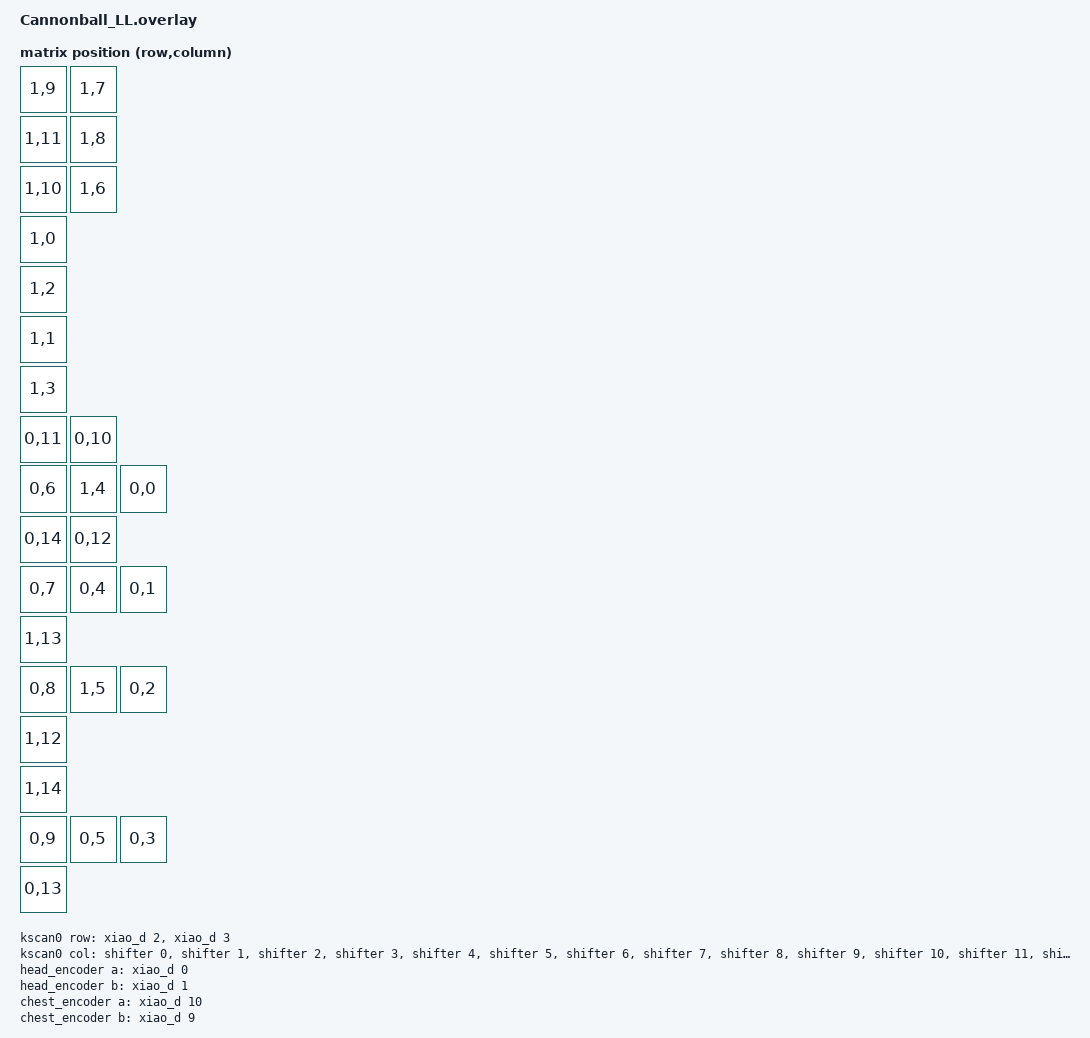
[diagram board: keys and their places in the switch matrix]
#include <dt-bindings/zmk/matrix_transform.h>
#include <input/processors.dtsi>
#include <dt-bindings/zmk/input_transform.h>
#include <physical_layouts.dtsi>
#include <dt-bindings/led/led.h>
#include <zephyr/dt-bindings/input/input-event-codes.h>

/ {
    chosen {
        zmk,physical-layout = &cannonball_physical_layout;
    };

    // Physical layout configuration
    cannonball_physical_layout: cannonball_physical_layout {
        compatible = "zmk,physical-layout";
        display-name = "Default";
        kscan = <&kscan0>;
        transform = <&default_transform>;
        keys //                  w   h   x   y rot rx ry
        // Based on info.json layout
        = <&key_physical_attrs 100 100 1.75  0    0  0  0> // 0
        , <&key_physical_attrs 100 100 4.25  0    0  0  0> // 1
        , <&key_physical_attrs 100 100 0.75  0.5  0  0  0> // 2
        , <&key_physical_attrs 100 100 5.25  0.5  0  0  0> // 3
        , <&key_physical_attrs 100 100 0.25  1.5  0  0  0> // 4
        , <&key_physical_attrs 100 100 5.75  1.5  0  0  0> // 5
        , <&key_physical_attrs 100 100 4     2    0  0  0> // 6
        , <&key_physical_attrs 100 100 2     2    0  0  0> // 7
        , <&key_physical_attrs 100 100 3     1    0  0  0> // 8
        , <&key_physical_attrs 100 100 3     3    0  0  0> // 9
        , <&key_physical_attrs 100 100 1.75  3.25 0  0  0> // 10
        , <&key_physical_attrs 100 100 4.25  3.25 0  0  0> // 11
        , <&key_physical_attrs 100 100 2     4.5  0  0  0> // 12
        , <&key_physical_attrs 100 100 3     4.5  0  0  0> // 13
        , <&key_physical_attrs 100 100 4     4.5  0  0  0> // 14
        , <&key_physical_attrs 100 100 0.75  5    0  0  0> // 15
        , <&key_physical_attrs 100 100 5.25  5    0  0  0> // 16
        , <&key_physical_attrs 100 100 2     5.5  0  0  0> // 17
        , <&key_physical_attrs 100 100 3     5.5  0  0  0> // 18
        , <&key_physical_attrs 100 100 4     5.5  0  0  0> // 19
        , <&key_physical_attrs 100 100 6.75  5.5  0  0  0> // 20
        , <&key_physical_attrs 100 100 2     6.5  0  0  0> // 21
        , <&key_physical_attrs 100 100 3     6.5  0  0  0> // 22
        , <&key_physical_attrs 100 100 4     6.5  0  0  0> // 23
        , <&key_physical_attrs 100 100 6.75  6.5  0  0  0> // 24
        , <&key_physical_attrs 100 100 0.75  7    0  0  0> // 25
        , <&key_physical_attrs 100 100 2     7.5  0  0  0> // 26
        , <&key_physical_attrs 100 100 3     7.5  0  0  0> // 27
        , <&key_physical_attrs 100 100 4     7.5  0  0  0> // 28
        , <&key_physical_attrs 100 100 5.25  7    0  0  0> // 29
        ;
    };

    // Key layout transformation
    default_transform: keymap_transform0 {
        compatible = "zmk,matrix-transform";
        rows = <2>;
        columns = <16>;
        map = 
            // Lever up
            RC(1,9) RC(1,7)
            // Lever push 
            RC(1,11) RC(1,8)
            // Lever down
            RC(1,10) RC(1,6)
            // Stick
            RC(1,0) // up
            RC(1,2) // left
            RC(1,1) // right
            RC(1,3) // down
            // Cover button L R
            RC(0,11) RC(0,10)
            // Key 1row:Mouse Button
            RC(0,6) RC(1,4) RC(0,0)
            // Side upper row
            RC(0,14) RC(0,12)
            // Key 2row
            RC(0,7) RC(0,4) RC(0,1)
            // Back Button Upper
            RC(1,13)
            // Key 3row
            RC(0,8) RC(1,5) RC(0,2)
            // Back Button Down
            RC(1,12)
            // Side bottom row left
            RC(1,14)
            // Key 4row
            RC(0,9) RC(0,5) RC(0,3)
            // Side bottom row right
            RC(0,13)
        >;
    };

    // Rest of your existing configuration
    kscan0: kscan0 {
        compatible = "zmk,kscan-gpio-matrix";
        diode-direction = "col2row";
        wakeup-source;
        row-gpios
            = <&xiao_d 2 (GPIO_ACTIVE_HIGH | GPIO_PULL_DOWN)>
            , <&xiao_d 3 (GPIO_ACTIVE_HIGH | GPIO_PULL_DOWN)>
            ;
        col-gpios
            = <&shifter 0  GPIO_ACTIVE_HIGH>
            , <&shifter 1  GPIO_ACTIVE_HIGH>
            , <&shifter 2  GPIO_ACTIVE_HIGH>
            , <&shifter 3  GPIO_ACTIVE_HIGH>
            , <&shifter 4  GPIO_ACTIVE_HIGH>
            , <&shifter 5  GPIO_ACTIVE_HIGH>
            , <&shifter 6  GPIO_ACTIVE_HIGH>
            , <&shifter 7  GPIO_ACTIVE_HIGH>
            , <&shifter 8  GPIO_ACTIVE_HIGH>
            , <&shifter 9  GPIO_ACTIVE_HIGH>
            , <&shifter 10 GPIO_ACTIVE_HIGH>
            , <&shifter 11 GPIO_ACTIVE_HIGH>
            , <&shifter 12 GPIO_ACTIVE_HIGH>
            , <&shifter 13 GPIO_ACTIVE_HIGH>
            , <&shifter 14 GPIO_ACTIVE_HIGH>
            ;
    };

    // Encoder configurations
    head_encoder: encoder_head {
        compatible = "alps,ec11";
        a-gpios = <&xiao_d 0 (GPIO_ACTIVE_HIGH | GPIO_PULL_UP)>;
        b-gpios = <&xiao_d 1 (GPIO_ACTIVE_HIGH | GPIO_PULL_UP)>;
        steps = <30>;
        status = "disabled";
    };
    
    chest_encoder: encoder_chest {
        compatible = "alps,ec11";
        a-gpios = <&xiao_d 10 (GPIO_ACTIVE_HIGH | GPIO_PULL_UP)>;
        b-gpios = <&xiao_d 9 (GPIO_ACTIVE_HIGH | GPIO_PULL_UP)>;
        steps = <24>;
        status = "disabled";
    };
    
    leg_encoder: encoder_leg {
        compatible = "alps,ec11";
        a-gpios = <&xiao_d 8 (GPIO_ACTIVE_HIGH | GPIO_PULL_UP)>;
        b-gpios = <&xiao_d 7 (GPIO_ACTIVE_HIGH | GPIO_PULL_UP)>;
        steps = <24>;
        status = "disabled";
    };
    
    sensors: sensors {
        compatible = "zmk,keymap-sensors";
        sensors = <&head_encoder>, <&chest_encoder>, <&leg_encoder>;
    };
};

&sensors {
    head_config {
        triggers-per-rotation = <15>;
    };

    chest_config {
        triggers-per-rotation = <12>;
    };

    leg_config {
        triggers-per-rotation = <12>;
    };
};

&head_encoder {
    status = "okay";
};
&chest_encoder {
    status = "okay";
};
&leg_encoder {
    status = "okay";
};

// SPI pin configuration
&pinctrl {
    spi0_default: spi0_default {
        group1 {
            psels = <NRF_PSEL(SPIM_SCK, 0, 5)>,
                    <NRF_PSEL(SPIM_MOSI, 0, 4)>,
                    <NRF_PSEL(SPIM_MISO, 0, 4)>;
        };
    };

    spi0_sleep: spi0_sleep {
        group1 {
            psels = <NRF_PSEL(SPIM_SCK, 0, 5)>,
                    <NRF_PSEL(SPIM_MOSI, 0, 4)>,
                    <NRF_PSEL(SPIM_MISO, 0, 4)>;
            low-power-enable;
        };
    };
};

&spi0 {
    status = "okay";
    cs-gpios =  <&gpio0 10 GPIO_ACTIVE_LOW>, <&xiao_d 6 GPIO_ACTIVE_LOW>; // CS
    pinctrl-0 = <&spi0_default>;
    pinctrl-1 = <&spi0_sleep>;
    pinctrl-names = "default", "sleep";
    compatible = "nordic,nrf-spim";

    // Optical sensor
    trackball: trackball@0 {
        status = "okay";
        compatible = "pixart,pmw3610";
        reg = <0>;
        cpi = <1200>;
        spi-max-frequency = <400000>;
        evt-type = <INPUT_EV_REL>;
        x-input-code = <INPUT_REL_X>;
        y-input-code = <INPUT_REL_Y>;
        irq-gpios = <&gpio0 9 (GPIO_ACTIVE_LOW | GPIO_PULL_UP)>; //MOT
    };

    // Shift register
    shifter: 595@1 {
        compatible = "zmk,gpio-595";
        status = "okay";
        gpio-controller;
        spi-max-frequency = <400000>;
        reg = <1>;
        #gpio-cells = <2>;
        label = "4HC595";
        ngpios = <16>;
    };
};

// Trackball configuration
/ {
  trackball_listener {
    compatible = "zmk,input-listener";
    device = <&trackball>;

    disable {
        // mouse disabled-esque for layer1
        layers = <1>;
        input-processors = 
          &zip_xy_transform (INPUT_TRANSFORM_Y_INVERT)
          &zip_x_scaler 0 8192
          &zip_y_scaler 1 8192
          &zip_xy_to_scroll_mapper
        >;
    };

    scroller {
        layers = <2>;
        input-processors = 
          &zip_xy_transform (INPUT_TRANSFORM_Y_INVERT)
          &zip_x_scaler 0 16
          &zip_y_scaler 1 16
          &zip_xy_to_scroll_mapper
        >;
    };
  };
};
